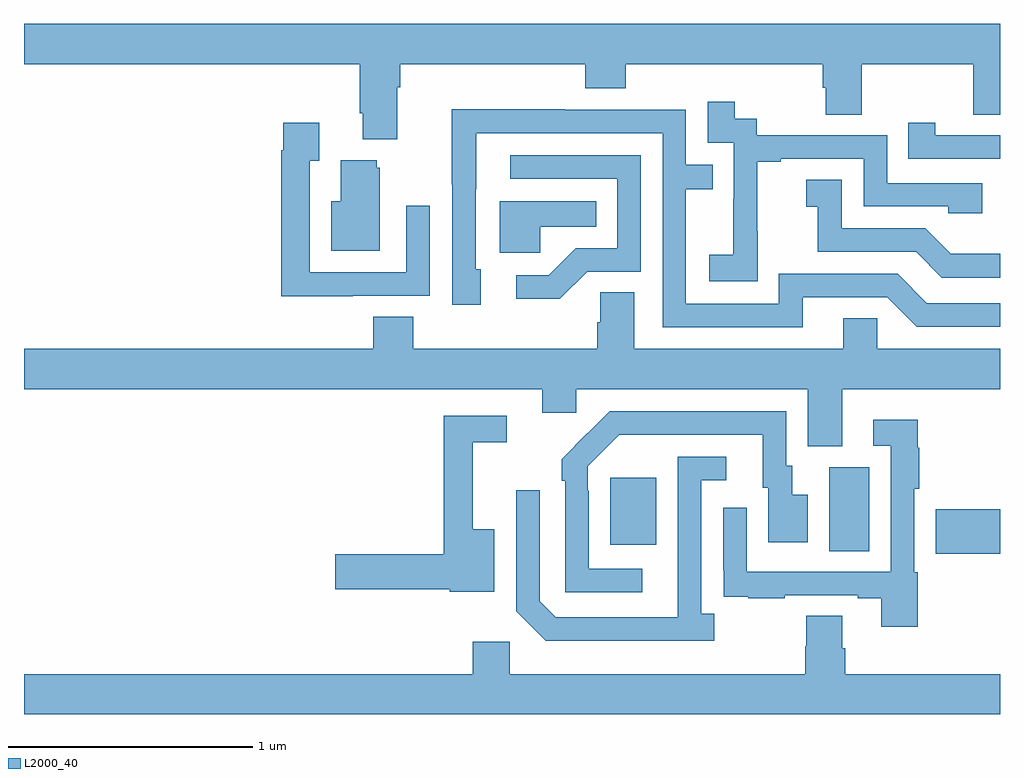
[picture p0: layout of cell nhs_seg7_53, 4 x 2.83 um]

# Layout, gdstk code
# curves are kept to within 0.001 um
import gdstk
lib = gdstk.Library(unit=1e-6, precision=1e-09)
def R(c, l, rs):  # rectangles x0, y0, x1, y1
    for r in rs: c.add(gdstk.rectangle(r[:2], r[2:], *l))
def P(c, l, *ps):  # polygons
    for p in ps: c.add(gdstk.Polygon(p, *l))
L2000_40 = (2000, 40)

nhs_seg7_53 = lib.new_cell('nhs_seg7_53')
R(nhs_seg7_53, L2000_40, [(116.736,1069.205,117,1069.388), (116.3,1069.216,116.464,1069.56), (115.403,1069.241,115.591,1069.516)])
P(nhs_seg7_53, L2000_40, [(114.529,1071.116),(114.542,1071.116),(114.542,1071.212),(115.301,1071.212),(115.301,1071.113),(115.466,1071.113),(115.466,1071.212),(116.273,1071.212),(116.273,1071.114),(116.285,1071.114),(116.285,1071.004),(116.433,1071.004),(116.433,1071.212),(116.89,1071.212),(116.89,1071.004),(117,1071.004),(117,1071.376),(113,1071.376),(113,1071.212),(114.377,1071.212),(114.377,1071.01),(114.389,1071.01),(114.389,1070.903),(114.529,1070.903)],
  [(116.007,1070.527),(116.006,1070.527),(116.006,1070.811),(116.101,1070.811),(116.101,1070.823),(116.442,1070.823),(116.442,1070.628),(116.787,1070.628),(116.787,1070.601),(116.927,1070.601),(116.927,1070.724),(116.538,1070.724),(116.538,1070.919),(116.004,1070.919),(116.004,1070.988),(115.912,1070.988),(115.912,1071.058),(115.803,1071.058),(115.803,1070.889),(115.908,1070.889),(115.908,1070.66),(115.907,1070.66),(115.907,1070.431),(115.809,1070.431),(115.809,1070.321),(116.007,1070.321)],
  [(116.191,1070.256),(116.538,1070.256),(116.658,1070.136),(117,1070.136),(117,1070.232),(116.7,1070.232),(116.58,1070.352),(116.094,1070.352),(116.094,1070.229),(115.713,1070.229),(115.713,1070.698),(115.823,1070.698),(115.823,1070.799),(115.713,1070.799),(115.713,1071.024),(115.217,1071.024),(115.217,1071.026),(114.754,1071.026),(114.754,1070.719),(114.756,1070.719),(114.756,1070.226),(114.871,1070.226),(114.871,1070.37),(114.852,1070.37),(114.853,1070.928),(115.617,1070.928),(115.617,1070.133),(116.191,1070.133)],
  [(114.347,1070.262),(114.663,1070.262),(114.663,1070.632),(114.567,1070.632),(114.567,1070.358),(114.171,1070.358),(114.171,1070.815),(114.211,1070.815),(114.211,1070.971),(114.063,1070.971),(114.063,1070.858),(114.055,1070.858),(114.055,1070.261),(114.347,1070.261)],
  [(117,1070.919),(116.734,1070.919),(116.734,1070.971),(116.623,1070.971),(116.623,1070.823),(117,1070.823)],
  [(115.308,1070.361),(115.527,1070.361),(115.527,1070.838),(114.993,1070.838),(114.993,1070.742),(115.431,1070.742),(115.431,1070.457),(115.262,1070.457),(115.151,1070.346),(115.017,1070.346),(115.017,1070.249),(115.195,1070.249)],
  [(114.457,1070.787),(114.446,1070.787),(114.446,1070.818),(114.299,1070.818),(114.299,1070.65),(114.26,1070.65),(114.26,1070.447),(114.457,1070.447)],
  [(117,1070.434),(116.798,1070.434),(116.694,1070.538),(116.352,1070.538),(116.352,1070.737),(116.205,1070.737),(116.205,1070.627),(116.254,1070.627),(116.254,1070.442),(116.657,1070.442),(116.762,1070.337),(117,1070.337)],
  [(115.116,1070.546),(115.346,1070.546),(115.346,1070.65),(114.95,1070.65),(114.95,1070.438),(115.116,1070.438)],
  [(116.353,1069.88),(117,1069.88),(117,1070.044),(116.496,1070.044),(116.496,1070.171),(116.357,1070.171),(116.357,1070.044),(115.501,1070.044),(115.501,1070.276),(115.362,1070.276),(115.362,1070.153),(115.349,1070.153),(115.349,1070.044),(114.596,1070.044),(114.596,1070.177),(114.431,1070.177),(114.431,1070.044),(113,1070.044),(113,1069.88),(115.124,1069.88),(115.124,1069.782),(115.263,1069.782),(115.263,1069.88),(116.213,1069.88),(116.213,1069.645),(116.353,1069.645)],
  [(115.534,1069.143),(115.314,1069.143),(115.314,1069.463),(115.311,1069.463),(115.311,1069.563),(115.44,1069.692),(116.027,1069.692),(116.027,1069.476),(116.051,1069.476),(116.051,1069.251),(116.212,1069.251),(116.212,1069.447),(116.149,1069.447),(116.149,1069.566),(116.124,1069.566),(116.124,1069.788),(115.4,1069.788),(115.203,1069.593),(115.203,1069.505),(115.218,1069.505),(115.218,1069.047),(115.534,1069.047)],
  [(114.928,1069.306),(114.839,1069.306),(114.839,1069.662),(114.979,1069.662),(114.979,1069.77),(114.721,1069.77),(114.721,1069.202),(114.276,1069.202),(114.276,1069.06),(114.744,1069.06),(114.744,1069.049),(114.928,1069.049)],
  [(116.662,1069.128),(116.649,1069.128),(116.649,1069.471),(116.669,1069.471),(116.669,1069.64),(116.662,1069.64),(116.662,1069.753),(116.481,1069.753),(116.481,1069.647),(116.553,1069.647),(116.553,1069.131),(115.962,1069.131),(115.962,1069.393),(115.866,1069.393),(115.866,1069.138),(115.867,1069.138),(115.867,1069.029),(115.969,1069.029),(115.969,1069.023),(116.117,1069.023),(116.117,1069.035),(116.417,1069.035),(116.417,1069.023),(116.513,1069.023),(116.513,1068.906),(116.662,1068.906)],
  [(115.828,1068.958),(115.776,1068.958),(115.776,1069.506),(115.879,1069.506),(115.879,1069.602),(115.68,1069.602),(115.679,1068.945),(115.179,1068.945),(115.113,1069.011),(115.113,1069.465),(115.017,1069.465),(115.017,1068.969),(115.138,1068.848),(115.828,1068.848)],
  [(117,1068.712),(116.366,1068.712),(116.366,1068.818),(116.353,1068.818),(116.353,1068.95),(116.206,1068.95),(116.206,1068.825),(116.201,1068.825),(116.201,1068.712),(114.99,1068.712),(114.99,1068.844),(114.839,1068.844),(114.839,1068.712),(113,1068.712),(113,1068.548),(117,1068.548)])

lib.write_gds('nhs_seg7_53.gds')
